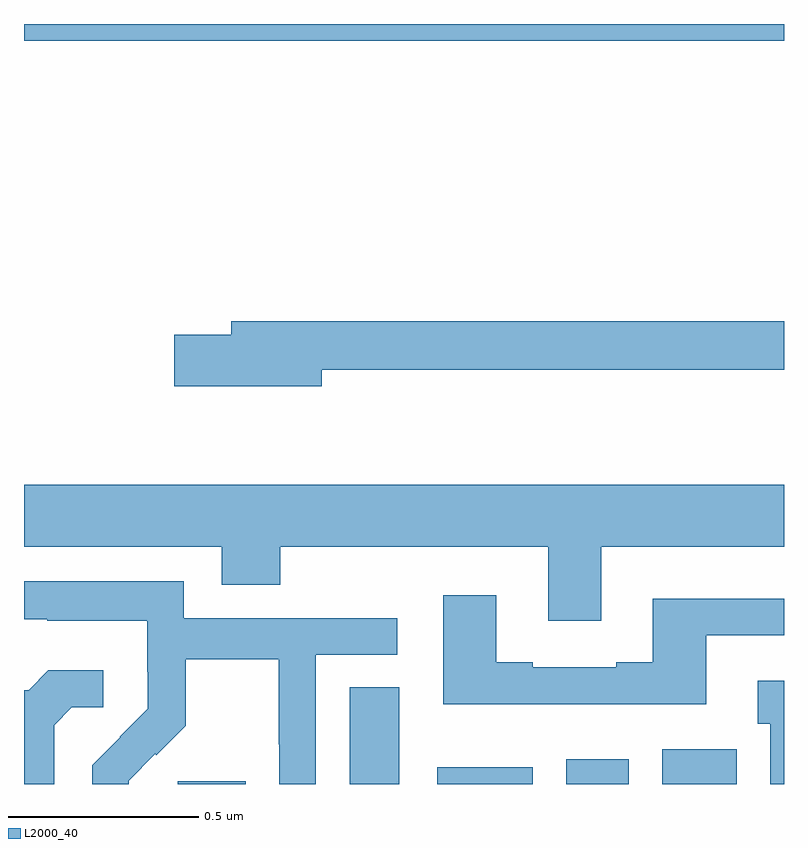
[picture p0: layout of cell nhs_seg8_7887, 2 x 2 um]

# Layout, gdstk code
import gdstk
lib = gdstk.Library(unit=1e-6, precision=1e-09)
def R(c, l, rs):  # rectangles x0, y0, x1, y1
    for r in rs: c.add(gdstk.rectangle(r[:2], r[2:], *l))
def P(c, l, *ps):  # polygons
    for p in ps: c.add(gdstk.Polygon(p, *l))
L2000_40 = (2000, 40)

nhs_seg8_7887 = lib.new_cell('nhs_seg8_7887')
R(nhs_seg8_7887, L2000_40, [(216.404,1091.9,216.583,1091.907), (216.857,1091.9,216.988,1092.155), (217.088,1091.9,217.339,1091.944), (217.427,1091.9,217.591,1091.965), (217.679,1091.9,217.876,1091.992), (216,1093.856,218,1093.9)])
P(nhs_seg8_7887, L2000_40, [(216.784,1092.99),(218,1092.99),(218,1093.118),(216.545,1093.118),(216.545,1093.082),(216.396,1093.082),(216.396,1092.947),(216.784,1092.947)],
  [(217.519,1092.524),(218,1092.524),(218,1092.688),(216,1092.688),(216,1092.524),(216.521,1092.524),(216.521,1092.425),(216.674,1092.425),(216.674,1092.524),(217.379,1092.524),(217.379,1092.33),(217.519,1092.33)],
  [(216.275,1091.909),(216.345,1091.979),(216.348,1091.976),(216.425,1092.053),(216.425,1092.228),(216.67,1092.228),(216.67,1092.004),(216.672,1092.004),(216.672,1091.9),(216.768,1091.9),(216.768,1092.24),(216.982,1092.24),(216.982,1092.336),(216.42,1092.336),(216.42,1092.433),(216,1092.433),(216,1092.333),(216.061,1092.333),(216.061,1092.329),(216.324,1092.329),(216.324,1092.195),(216.326,1092.195),(216.326,1092.098),(216.252,1092.024),(216.253,1092.023),(216.18,1091.95),(216.18,1091.9),(216.275,1091.9)],
  [(217.795,1092.291),(218,1092.291),(218,1092.388),(217.655,1092.388),(217.655,1092.22),(217.559,1092.22),(217.559,1092.207),(217.339,1092.207),(217.339,1092.22),(217.243,1092.22),(217.243,1092.397),(217.103,1092.397),(217.103,1092.11),(217.795,1092.11)],
  [(216.079,1092.055),(216.126,1092.102),(216.208,1092.102),(216.208,1092.199),(216.064,1092.199),(216.012,1092.147),(216,1092.147),(216,1091.9),(216.079,1091.9)],
  [(218,1092.172),(217.931,1092.172),(217.931,1092.059),(217.964,1092.059),(217.964,1091.9),(218,1091.9)])

lib.write_gds('nhs_seg8_7887.gds')
